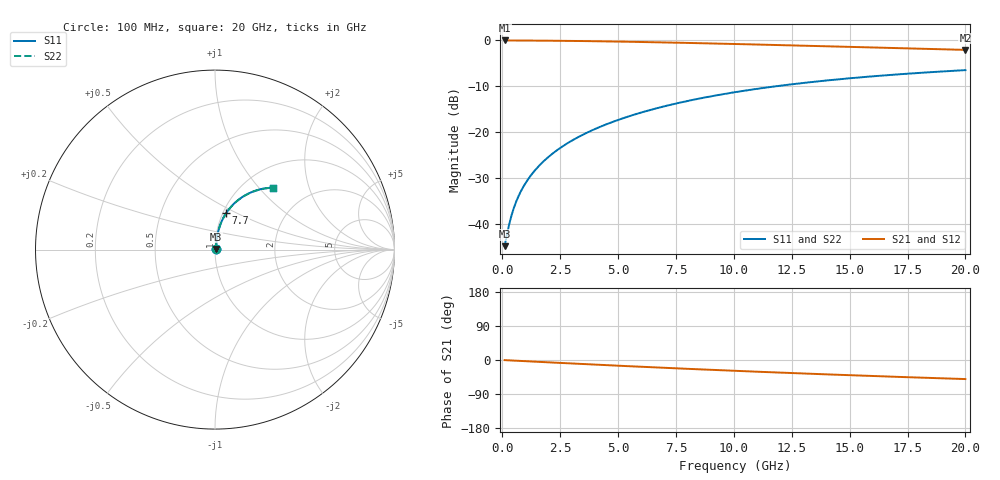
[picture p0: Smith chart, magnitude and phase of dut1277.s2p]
! Touchstone file exported from HFSS 2024.1.0
!  File:  C:/UserFiles/LocalFiles/RDL_TSV_Batchsim/temp_RDL_bottom_1277_1780246489.aedt
!  Generated:  12:57:10 AM Jun  1, 2026
!  Design:  RDL_bottom
!  Project:  temp_RDL_bottom_1277_1780246489
!  Setup:  Setup1
!  Solution:  Sweep
! Variables:
!  dtsv = 10.80580581um
!  hbump = 3um
!  htsv = 88.11um
!  ldown = 664.54um
!  lrdl = 100um
!  p = 40
!  p1 = 58.45um
!  rhole = 1um
!  t = 450um
!  tdown = 2.38um
!  trdl = 3.915915916um
!  wdown = 20.55um
!  wrdl = 20um
# GHz S MA R 50.000000
! Terminal data exported
! Port[1] = RDL1_T1
! Port[2] = RDL1_T2
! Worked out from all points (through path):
!   200 points, 100 MHz to 20 GHz, reference 50 ohm
!   highest |S21| = -0.04 dB at 100 MHz (marker M1); lowest = -2.1 dB at 20 GHz (marker M2)
!   group delay of S21, straight-line fit = 6.97 ps
!   lowest |S11| = -44.7 dB at 100 MHz (marker M3), VSWR 1.01, Z = 50.5 + j0.292 ohm
!   |S11| at or under -10 dB: start of sweep to 11.81 GHz
!   |S22| runs from -44.7 to -6.5 dB; largest |S21 - S12| = 6.2e-15
!   S11 on the Smith chart (normalised r, x): 100 MHz: 1.01, +0.01; 7.7 GHz: 1.04, +0.44; 20 GHz: 1.35, +1.20
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0.1  0.005803 29.9  0.995 -0.3  0.995 -0.3  0.005803 29.9
! Gamma 0 0 0 0
! Port Impedance 50 0 50 0
0.3  0.01008 57.9  0.9946 -1.0  0.9946 -1.0  0.01008 57.9
0.4  0.01258 63.7  0.9944 -1.3  0.9944 -1.3  0.01258 63.7
0.5  0.01512 67.5  0.9941 -1.6  0.9941 -1.6  0.01512 67.5
0.6  0.01768 70.1  0.9938 -1.9  0.9938 -1.9  0.01768 70.1
0.8  0.02281 73.6  0.9933 -2.5  0.9933 -2.5  0.02281 73.6
1.1  0.03056 76.7  0.9924 -3.4  0.9924 -3.4  0.03056 76.6
1.3  0.03576 77.9  0.9918 -4.0  0.9918 -4.0  0.03576 77.9
1.6  0.04364 79.2  0.9907 -5.0  0.9907 -5.0  0.04364 79.1
2.1  0.0569 80.2  0.9886 -6.5  0.9886 -6.5  0.0569 80.2
2.7  0.07302 80.6  0.9854 -8.3  0.9854 -8.3  0.07301 80.5
3.5  0.0948 80.2  0.9801 -10.7  0.9801 -10.7  0.09479 80.2
4.2  0.1141 79.5  0.9747 -12.7  0.9747 -12.7  0.1141 79.5
5  0.1363 78.4  0.9677 -15.0  0.9677 -15.0  0.1362 78.3
5.9  0.1613 76.8  0.9589 -17.6  0.9589 -17.6  0.1612 76.8
6.8  0.1863 75.0  0.9494 -20.1  0.9494 -20.1  0.1862 75.0
7.7  0.2109 73.1  0.9392 -22.5  0.9392 -22.5  0.2108 73.1
10.1  0.2742 67.8  0.9102 -28.7  0.9102 -28.7  0.2741 67.7
11.7  0.3137 64.1  0.89 -32.6  0.89 -32.6  0.3134 64.1
13.4  0.3526 60.3  0.8681 -36.5  0.8681 -36.5  0.3523 60.2
16.7  0.419 53.2  0.8261 -43.7  0.8261 -43.7  0.4187 53.2
20  0.4736 46.8  0.786 -50.3  0.786 -50.3  0.4732 46.7
